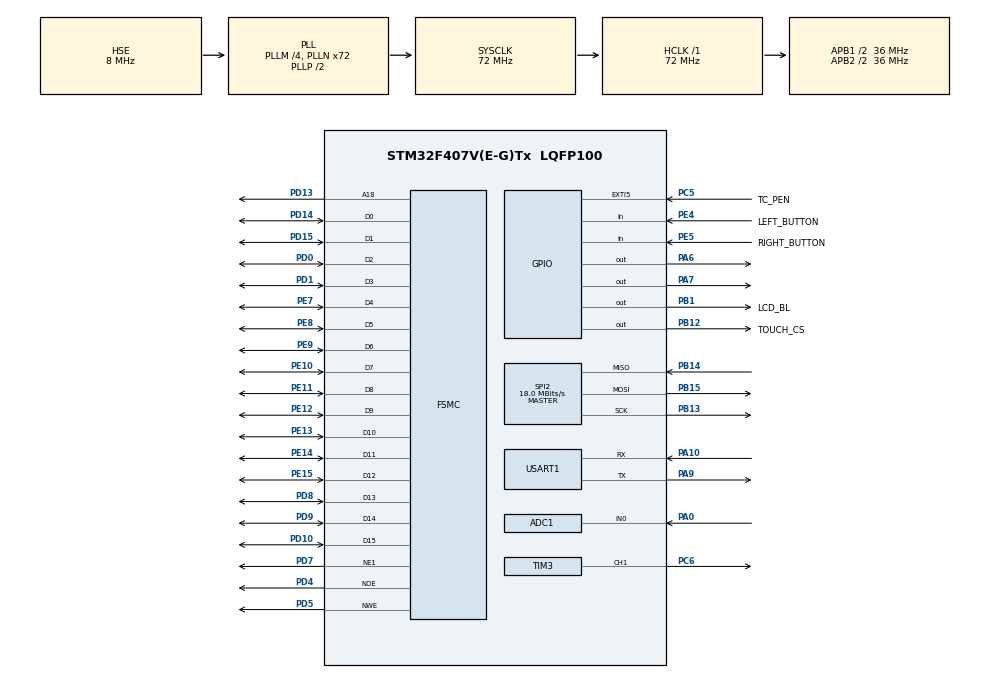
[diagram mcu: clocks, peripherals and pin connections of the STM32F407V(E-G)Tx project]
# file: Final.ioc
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ADC1.Channel-1\#ChannelRegularConversion=ADC_CHANNEL_0
ADC1.ContinuousConvMode=ENABLE
ADC1.DMAContinuousRequests=ENABLE
ADC1.DiscontinuousConvMode=DISABLE
ADC1.EOCSelection=ADC_EOC_SEQ_CONV
ADC1.ExternalTrigConv=ADC_EXTERNALTRIGCONV_T2_TRGO
ADC1.InjNumberOfConversion=0
ADC1.NbrOfConversion=1
ADC1.NbrOfConversionFlag=1
ADC1.Rank-1\#ChannelRegularConversion=1
ADC1.SamplingTime-1\#ChannelRegularConversion=ADC_SAMPLETIME_15CYCLES
ADC1.ScanConvMode=DISABLE
ADC1.master=1
Dma.ADC1.1.Direction=DMA_PERIPH_TO_MEMORY
Dma.ADC1.1.FIFOMode=DMA_FIFOMODE_DISABLE
Dma.ADC1.1.Instance=DMA2_Stream0
Dma.ADC1.1.MemDataAlignment=DMA_MDATAALIGN_HALFWORD
Dma.ADC1.1.MemInc=DMA_MINC_ENABLE
Dma.ADC1.1.Mode=DMA_CIRCULAR
Dma.ADC1.1.PeriphDataAlignment=DMA_PDATAALIGN_HALFWORD
Dma.ADC1.1.PeriphInc=DMA_PINC_DISABLE
Dma.ADC1.1.Priority=DMA_PRIORITY_LOW
Dma.Request0=TIM3_CH1/TRIG
Dma.Request1=ADC1
Dma.TIM3_CH1/TRIG.0.Direction=DMA_MEMORY_TO_PERIPH
Dma.TIM3_CH1/TRIG.0.FIFOMode=DMA_FIFOMODE_DISABLE
Dma.TIM3_CH1/TRIG.0.Instance=DMA1_Stream4
Dma.TIM3_CH1/TRIG.0.MemDataAlignment=DMA_MDATAALIGN_HALFWORD
Dma.TIM3_CH1/TRIG.0.MemInc=DMA_MINC_ENABLE
Dma.TIM3_CH1/TRIG.0.Mode=DMA_NORMAL
Dma.TIM3_CH1/TRIG.0.PeriphDataAlignment=DMA_PDATAALIGN_HALFWORD
Dma.TIM3_CH1/TRIG.0.PeriphInc=DMA_PINC_DISABLE
Dma.TIM3_CH1/TRIG.0.Priority=DMA_PRIORITY_LOW
Mcu.Family=STM32F4
Mcu.Name=STM32F407V(E-G)Tx
Mcu.Package=LQFP100
Mcu.UserConstants=LED_CNT,89
NVIC.DMA1_Stream4_IRQn=true\:0\:0\:false\:false\:true\:false\:true\:true
NVIC.DMA2_Stream0_IRQn=true\:0\:0\:false\:false\:true\:false\:true\:true
NVIC.PriorityGroup=NVIC_PRIORITYGROUP_4
NVIC.USART1_IRQn=true\:0\:0\:false\:false\:true\:true\:true\:true
PA0-WKUP.Signal=ADCx_IN0
PA10.Mode=Asynchronous
PA10.Signal=USART1_RX
PA6.Signal=GPIO_Output
PA7.Signal=GPIO_Output
PA9.Mode=Asynchronous
PA9.Signal=USART1_TX
PB1.GPIO_Label=LCD_BL
PB1.Signal=GPIO_Output
PB12.GPIO_Label=TOUCH_CS
PB12.Signal=GPIO_Output
PB13.Mode=Full_Duplex_Master
PB13.Signal=SPI2_SCK
PB14.Mode=Full_Duplex_Master
PB14.Signal=SPI2_MISO
PB15.Mode=Full_Duplex_Master
PB15.Signal=SPI2_MOSI
PC5.GPIO_Label=TC_PEN
PC5.Signal=GPXTI5
PC6.Signal=S_TIM3_CH1
PD0.GPIO_PuPd=GPIO_PULLUP
PD0.GPIO_Speed_High_Default=GPIO_SPEED_FREQ_HIGH
PD0.Mode=16b-d1
PD0.Signal=FSMC_D2
PD1.Mode=16b-d1
PD1.Signal=FSMC_D3
PD10.GPIO_Mode=GPIO_MODE_AF_PP
PD10.GPIO_PuPd=GPIO_PULLUP
PD10.GPIO_Speed_High_Default=GPIO_SPEED_FREQ_HIGH
PD10.Mode=16b-d1
PD10.Signal=FSMC_D15
PD13.GPIO_Mode=GPIO_MODE_AF_PP
PD13.GPIO_PuPd=GPIO_PULLUP
PD13.GPIO_Speed_High_Default=GPIO_SPEED_FREQ_HIGH
PD13.Mode=A18_1
PD13.Signal=FSMC_A18
PD14.GPIO_Mode=GPIO_MODE_AF_PP
PD14.GPIO_PuPd=GPIO_PULLUP
PD14.GPIO_Speed_High_Default=GPIO_SPEED_FREQ_HIGH
PD14.Mode=16b-d1
PD14.Signal=FSMC_D0
PD15.GPIO_Mode=GPIO_MODE_AF_PP
PD15.GPIO_PuPd=GPIO_PULLUP
PD15.GPIO_Speed_High_Default=GPIO_SPEED_FREQ_HIGH
PD15.Mode=16b-d1
PD15.Signal=FSMC_D1
PD4.Mode=Lcd1
PD4.Signal=FSMC_NOE
PD5.Mode=Lcd1
PD5.Signal=FSMC_NWE
PD7.Mode=NorPsramChipSelect1_1
PD7.Signal=FSMC_NE1
PD8.Mode=16b-d1
PD8.Signal=FSMC_D13
PD9.Mode=16b-d1
PD9.Signal=FSMC_D14
PE10.Mode=16b-d1
PE10.Signal=FSMC_D7
PE11.Mode=16b-d1
PE11.Signal=FSMC_D8
PE12.Mode=16b-d1
PE12.Signal=FSMC_D9
PE13.Mode=16b-d1
PE13.Signal=FSMC_D10
PE14.Mode=16b-d1
PE14.Signal=FSMC_D11
PE15.Mode=16b-d1
PE15.Signal=FSMC_D12
PE4.GPIO_Label=LEFT_BUTTON
PE4.Signal=GPIO_Input
PE5.GPIO_Label=RIGHT_BUTTON
PE5.Signal=GPIO_Input
PE7.GPIO_Mode=GPIO_MODE_AF_PP
PE7.GPIO_PuPd=GPIO_PULLUP
PE7.GPIO_Speed_High_Default=GPIO_SPEED_FREQ_HIGH
PE7.Mode=16b-d1
PE7.Signal=FSMC_D4
PE8.Mode=16b-d1
PE8.Signal=FSMC_D5
PE9.Mode=16b-d1
PE9.Signal=FSMC_D6
PH0-OSC_IN.Mode=HSE-External-Oscillator
PH0-OSC_IN.Signal=RCC_OSC_IN
PH1-OSC_OUT.Mode=HSE-External-Oscillator
PH1-OSC_OUT.Signal=RCC_OSC_OUT
ProjectManager.HeapSize=0x200
ProjectManager.StackSize=0x400
ProjectManager.TargetToolchain=STM32CubeIDE
RCC.48MHZClocksFreq_Value=36000000
RCC.AHBFreq_Value=72000000
RCC.APB1CLKDivider=RCC_HCLK_DIV2
RCC.APB1Freq_Value=36000000
RCC.APB1TimFreq_Value=72000000
RCC.APB2CLKDivider=RCC_HCLK_DIV2
RCC.APB2Freq_Value=36000000
RCC.APB2TimFreq_Value=72000000
RCC.CortexFreq_Value=72000000
RCC.HCLKFreq_Value=72000000
RCC.HSE_VALUE=8000000
RCC.HSI_VALUE=16000000
RCC.LSE_VALUE=32768
RCC.PLLM=4
RCC.PLLN=72
RCC.PLLSourceVirtual=RCC_PLLSOURCE_HSE
RCC.SYSCLKFreq_VALUE=72000000
RCC.SYSCLKSource=RCC_SYSCLKSOURCE_PLLCLK
RCC.VCOOutputFreq_Value=144000000
SH.ADCx_IN0.0=ADC1_IN0,IN0
SH.S_TIM3_CH1.0=TIM3_CH1,PWM Generation1 CH1
SPI2.CalculateBaudRate=18.0 MBits/s
SPI2.Direction=SPI_DIRECTION_2LINES
SPI2.Mode=SPI_MODE_MASTER
SPI2.VirtualType=VM_MASTER
TIM2.AutoReloadPreload=TIM_AUTORELOAD_PRELOAD_ENABLE
TIM2.Period=99
TIM2.Prescaler=71
TIM2.TIM_MasterOutputTrigger=TIM_TRGO_UPDATE
TIM2.TIM_MasterSlaveMode=TIM_MASTERSLAVEMODE_ENABLE
TIM3.Channel-PWM\ Generation1\ CH1=TIM_CHANNEL_1
TIM3.Period=LED_CNT
USART1.VirtualMode=VM_ASYNC
VP_TIM2_VS_ClockSourceINT.Mode=Internal
VP_TIM3_VS_ClockSourceINT.Mode=Internal
board=custom

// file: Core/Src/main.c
/* USER CODE BEGIN Header */
/**
  ******************************************************************************
  * @file           : main.c
  * @brief          : Main program body
  ******************************************************************************
  * @attention
  *
  * Copyright (c) 2025 STMicroelectronics.
  * All rights reserved.
  *
  * This software is licensed under terms that can be found in the LICENSE file
  * in the root directory of this software component.
  * If no LICENSE file comes with this software, it is provided AS-IS.
  *
  ******************************************************************************
  */
/* USER CODE END Header */
#include "main.h"
#include "WS2812.h"
#include "FFT.h"
#include "background.h"
#include "Setup_LCD_Status.h"
#include "stm32f4xx_hal.h"
#include "lcd_effect.h"
#include "ili9341.h"
#include <string.h>
#include <stdio.h>
#include "LCD_Touch.h"

ADC_HandleTypeDef hadc1;
DMA_HandleTypeDef hdma_adc1;

SPI_HandleTypeDef hspi2;

TIM_HandleTypeDef htim2;
TIM_HandleTypeDef htim3;
DMA_HandleTypeDef hdma_tim3_ch1_trig;

UART_HandleTypeDef huart1;

SRAM_HandleTypeDef hsram1;

#define min(a,b) (((a)<(b))?(a):(b))

#define DMA_BUFFER_SIZE 1024
uint16_t adc_buffer[1024] = {0};
uint32_t adc_average_value = 0;
int datasentflag = 0;

void SystemClock_Config(void);
static void MX_GPIO_Init(void);
static void MX_DMA_Init(void);
static void MX_TIM3_Init(void);
static void MX_USART1_UART_Init(void);
static void MX_ADC1_Init(void);
static void MX_TIM2_Init(void);
static void MX_FSMC_Init(void);
static void MX_SPI2_Init(void);

/* USER CODE BEGIN 0 */

void Print_ADC(void)
{
	char buffer[50];

//	snprintf(buffer, sizeof(buffer), "ADC Average: %ld\r\n", adc_average_value);
//	HAL_UART_Transmit(&huart1, (uint8_t*)buffer, strlen(buffer), HAL_MAX_DELAY);
//	HAL_Delay(500);

	for (int i = 0; i < 10; i++) // In 10 giá trị đầu tiên
	{
		snprintf(buffer, sizeof(buffer), "Value %d: %d\r\n", i, adc_buffer[i]);
		HAL_UART_Transmit(&huart1, (uint8_t*)buffer, strlen(buffer), HAL_MAX_DELAY);
		HAL_Delay(100);
	}
}

void HAL_TIM_PWM_PulseFinishedCallback(TIM_HandleTypeDef *htim)
{
	HAL_TIM_PWM_Stop_DMA(&htim3, TIM_CHANNEL_1);
	datasentflag = 1;
}

void HAL_ADC_ConvHalfCpltCallback(ADC_HandleTypeDef *hadc)
{
	uint64_t sum = 0;
	for (int i = 0 ; i < DMA_BUFFER_SIZE / 2 ; i++)
	{
		sum += adc_buffer[i];
	}
	adc_average_value = sum / (DMA_BUFFER_SIZE / 2);
}

/* USER CODE END 0 */

int main(void)
{

  /* MCU Configuration--------------------------------------------------------*/

  /* Reset of all peripherals, Initializes the Flash interface and the Systick. */
  HAL_Init();

  /* Configure the system clock */
  SystemClock_Config();

  /* Initialize all configured peripherals */
  MX_GPIO_Init();
  MX_DMA_Init();
  MX_TIM3_Init();
  MX_USART1_UART_Init();
  MX_ADC1_Init();
  MX_TIM2_Init();
  MX_FSMC_Init();
  MX_SPI2_Init();
  /* USER CODE BEGIN 2 */
  HAL_TIM_Base_Start(&htim2);
  HAL_ADC_Start_DMA(&hadc1, (uint32_t *)adc_buffer, DMA_BUFFER_SIZE);

  /* USER CODE END 2 */
  LCD_BL_ON();
  HAL_GPIO_WritePin(GPIOA, GPIO_PIN_6, GPIO_PIN_SET);
  HAL_GPIO_WritePin(GPIOA, GPIO_PIN_7, GPIO_PIN_RESET);
  /* Infinite loop */
  lcdInit();
  lcdSetOrientation(LCD_ORIENTATION_LANDSCAPE);
  /* USER CODE BEGIN WHILE */
  TouchCalibrate();
  uint32_t start = 0;
  startlcd();
//  char touchStr[32];
//  int16_t x, y;

  Reset_All_LED();

  while (1)
  {
    /* USER CODE END WHILE */
	  FFT_SETUP();
	  if (HAL_GetTick() - start >= 1000) {
	  	      HAL_GPIO_TogglePin(GPIOA, GPIO_PIN_6);
	  	      HAL_GPIO_TogglePin(GPIOA, GPIO_PIN_7);
	  	      start = HAL_GetTick();
	  }
	  readtouch();
	  //
//	  if (TouchGetCalibratedPoint(&x, &y)) // nếu đang chạm và lấy được tọa độ
//	  {
//	  //		  int16_t x=ty;
//	  //		  int16_t y= 239-tx;
//	  			// Hiển thị lên LCD
//		  sprintf(touchStr, "X:%03d Y:%03d", x, y);
//
//	  			// Xóa vùng cũ (nếu muốn làm sạch vùng hiển thị)
//	  	lcdFillRect(0, 0, 160, 16, COLOR_BLACK);
//
//	  			// Hiển thị tọa độ
//	  			lcdSetCursor(10, 0);
//	  			lcdPrintf("%s", touchStr);
//
//	  			HAL_Delay(100);  // tránh flicker
//	  /* USER CODE BEGIN 3 */
//	  }

	  runlcd();
	    /* USER CODE END 3 */
  }
 }

void SystemClock_Config(void)
{
  RCC_OscInitTypeDef RCC_OscInitStruct = {0};
  RCC_ClkInitTypeDef RCC_ClkInitStruct = {0};

  /** Configure the main internal regulator output voltage
  */
  __HAL_RCC_PWR_CLK_ENABLE();
  __HAL_PWR_VOLTAGESCALING_CONFIG(PWR_REGULATOR_VOLTAGE_SCALE1);

  /** Initializes the RCC Oscillators according to the specified parameters
  * in the RCC_OscInitTypeDef structure.
  */
  RCC_OscInitStruct.OscillatorType = RCC_OSCILLATORTYPE_HSE;
  RCC_OscInitStruct.HSEState = RCC_HSE_ON;
  RCC_OscInitStruct.PLL.PLLState = RCC_PLL_ON;
  RCC_OscInitStruct.PLL.PLLSource = RCC_PLLSOURCE_HSE;
  RCC_OscInitStruct.PLL.PLLM = 4;
  RCC_OscInitStruct.PLL.PLLN = 72;
  RCC_OscInitStruct.PLL.PLLP = RCC_PLLP_DIV2;
  RCC_OscInitStruct.PLL.PLLQ = 4;
  if (HAL_RCC_OscConfig(&RCC_OscInitStruct) != HAL_OK)
  {
    Error_Handler();
  }

  /** Initializes the CPU, AHB and APB buses clocks
  */
  RCC_ClkInitStruct.ClockType = RCC_CLOCKTYPE_HCLK|RCC_CLOCKTYPE_SYSCLK
                              |RCC_CLOCKTYPE_PCLK1|RCC_CLOCKTYPE_PCLK2;
  RCC_ClkInitStruct.SYSCLKSource = RCC_SYSCLKSOURCE_PLLCLK;
  RCC_ClkInitStruct.AHBCLKDivider = RCC_SYSCLK_DIV1;
  RCC_ClkInitStruct.APB1CLKDivider = RCC_HCLK_DIV2;
  RCC_ClkInitStruct.APB2CLKDivider = RCC_HCLK_DIV2;

  if (HAL_RCC_ClockConfig(&RCC_ClkInitStruct, FLASH_LATENCY_2) != HAL_OK)
  {
    Error_Handler();
  }
}

static void MX_ADC1_Init(void)
{

  ADC_ChannelConfTypeDef sConfig = {0};

  /** Configure the global features of the ADC (Clock, Resolution, Data Alignment and number of conversion)
  */
  hadc1.Instance = ADC1;
  hadc1.Init.ClockPrescaler = ADC_CLOCK_SYNC_PCLK_DIV2;
  hadc1.Init.Resolution = ADC_RESOLUTION_12B;
  hadc1.Init.ScanConvMode = DISABLE;
  hadc1.Init.ContinuousConvMode = ENABLE;
  hadc1.Init.DiscontinuousConvMode = DISABLE;
  hadc1.Init.ExternalTrigConvEdge = ADC_EXTERNALTRIGCONVEDGE_RISING;
  hadc1.Init.ExternalTrigConv = ADC_EXTERNALTRIGCONV_T2_TRGO;
  hadc1.Init.DataAlign = ADC_DATAALIGN_RIGHT;
  hadc1.Init.NbrOfConversion = 1;
  hadc1.Init.DMAContinuousRequests = ENABLE;
  hadc1.Init.EOCSelection = ADC_EOC_SEQ_CONV;
  if (HAL_ADC_Init(&hadc1) != HAL_OK)
  {
    Error_Handler();
  }

  /** Configure for the selected ADC regular channel its corresponding rank in the sequencer and its sample time.
  */
  sConfig.Channel = ADC_CHANNEL_0;
  sConfig.Rank = 1;
  sConfig.SamplingTime = ADC_SAMPLETIME_15CYCLES;
  if (HAL_ADC_ConfigChannel(&hadc1, &sConfig) != HAL_OK)
  {
    Error_Handler();
  }

}

static void MX_SPI2_Init(void)
{

  /* SPI2 parameter configuration*/
  hspi2.Instance = SPI2;
  hspi2.Init.Mode = SPI_MODE_MASTER;
  hspi2.Init.Direction = SPI_DIRECTION_2LINES;
  hspi2.Init.DataSize = SPI_DATASIZE_8BIT;
  hspi2.Init.CLKPolarity = SPI_POLARITY_LOW;
  hspi2.Init.CLKPhase = SPI_PHASE_1EDGE;
  hspi2.Init.NSS = SPI_NSS_SOFT;
  hspi2.Init.BaudRatePrescaler = SPI_BAUDRATEPRESCALER_2;
  hspi2.Init.FirstBit = SPI_FIRSTBIT_MSB;
  hspi2.Init.TIMode = SPI_TIMODE_DISABLE;
  hspi2.Init.CRCCalculation = SPI_CRCCALCULATION_DISABLE;
  hspi2.Init.CRCPolynomial = 10;
  if (HAL_SPI_Init(&hspi2) != HAL_OK)
  {
    Error_Handler();
  }

}

static void MX_TIM2_Init(void)
{

  TIM_ClockConfigTypeDef sClockSourceConfig = {0};
  TIM_MasterConfigTypeDef sMasterConfig = {0};

  htim2.Instance = TIM2;
  htim2.Init.Prescaler = 71;
  htim2.Init.CounterMode = TIM_COUNTERMODE_UP;
  htim2.Init.Period = 99;
  htim2.Init.ClockDivision = TIM_CLOCKDIVISION_DIV1;
  htim2.Init.AutoReloadPreload = TIM_AUTORELOAD_PRELOAD_ENABLE;
  if (HAL_TIM_Base_Init(&htim2) != HAL_OK)
  {
    Error_Handler();
  }
  sClockSourceConfig.ClockSource = TIM_CLOCKSOURCE_INTERNAL;
  if (HAL_TIM_ConfigClockSource(&htim2, &sClockSourceConfig) != HAL_OK)
  {
    Error_Handler();
  }
  sMasterConfig.MasterOutputTrigger = TIM_TRGO_UPDATE;
  sMasterConfig.MasterSlaveMode = TIM_MASTERSLAVEMODE_ENABLE;
  if (HAL_TIMEx_MasterConfigSynchronization(&htim2, &sMasterConfig) != HAL_OK)
  {
    Error_Handler();
  }

}

static void MX_TIM3_Init(void)
{

  TIM_ClockConfigTypeDef sClockSourceConfig = {0};
  TIM_MasterConfigTypeDef sMasterConfig = {0};
  TIM_OC_InitTypeDef sConfigOC = {0};

  htim3.Instance = TIM3;
  htim3.Init.Prescaler = 0;
  htim3.Init.CounterMode = TIM_COUNTERMODE_UP;
  htim3.Init.Period = LED_CNT;
  htim3.Init.ClockDivision = TIM_CLOCKDIVISION_DIV1;
  htim3.Init.AutoReloadPreload = TIM_AUTORELOAD_PRELOAD_DISABLE;
  if (HAL_TIM_Base_Init(&htim3) != HAL_OK)
  {
    Error_Handler();
  }
  sClockSourceConfig.ClockSource = TIM_CLOCKSOURCE_INTERNAL;
  if (HAL_TIM_ConfigClockSource(&htim3, &sClockSourceConfig) != HAL_OK)
  {
    Error_Handler();
  }
  if (HAL_TIM_PWM_Init(&htim3) != HAL_OK)
  {
    Error_Handler();
  }
  sMasterConfig.MasterOutputTrigger = TIM_TRGO_RESET;
  sMasterConfig.MasterSlaveMode = TIM_MASTERSLAVEMODE_DISABLE;
  if (HAL_TIMEx_MasterConfigSynchronization(&htim3, &sMasterConfig) != HAL_OK)
  {
    Error_Handler();
  }
  sConfigOC.OCMode = TIM_OCMODE_PWM1;
  sConfigOC.Pulse = 0;
  sConfigOC.OCPolarity = TIM_OCPOLARITY_HIGH;
  sConfigOC.OCFastMode = TIM_OCFAST_DISABLE;
  if (HAL_TIM_PWM_ConfigChannel(&htim3, &sConfigOC, TIM_CHANNEL_1) != HAL_OK)
  {
    Error_Handler();
  }
  HAL_TIM_MspPostInit(&htim3);

}

static void MX_USART1_UART_Init(void)
{

  huart1.Instance = USART1;
  huart1.Init.BaudRate = 115200;
  huart1.Init.WordLength = UART_WORDLENGTH_8B;
  huart1.Init.StopBits = UART_STOPBITS_1;
  huart1.Init.Parity = UART_PARITY_NONE;
  huart1.Init.Mode = UART_MODE_TX_RX;
  huart1.Init.HwFlowCtl = UART_HWCONTROL_NONE;
  huart1.Init.OverSampling = UART_OVERSAMPLING_16;
  if (HAL_UART_Init(&huart1) != HAL_OK)
  {
    Error_Handler();
  }

}

static void MX_DMA_Init(void)
{

  /* DMA controller clock enable */
  __HAL_RCC_DMA1_CLK_ENABLE();
  __HAL_RCC_DMA2_CLK_ENABLE();

  /* DMA interrupt init */
  /* DMA1_Stream4_IRQn interrupt configuration */
  HAL_NVIC_SetPriority(DMA1_Stream4_IRQn, 0, 0);
  HAL_NVIC_EnableIRQ(DMA1_Stream4_IRQn);
  /* DMA2_Stream0_IRQn interrupt configuration */
  HAL_NVIC_SetPriority(DMA2_Stream0_IRQn, 0, 0);
  HAL_NVIC_EnableIRQ(DMA2_Stream0_IRQn);

}

static void MX_GPIO_Init(void)
{
  GPIO_InitTypeDef GPIO_InitStruct = {0};

  /* GPIO Ports Clock Enable */
  __HAL_RCC_GPIOE_CLK_ENABLE();
  __HAL_RCC_GPIOH_CLK_ENABLE();
  __HAL_RCC_GPIOA_CLK_ENABLE();
  __HAL_RCC_GPIOC_CLK_ENABLE();
  __HAL_RCC_GPIOB_CLK_ENABLE();
  __HAL_RCC_GPIOD_CLK_ENABLE();

  /*Configure GPIO pin Output Level */
  HAL_GPIO_WritePin(GPIOA, GPIO_PIN_6|GPIO_PIN_7, GPIO_PIN_RESET);

  /*Configure GPIO pin Output Level */
  HAL_GPIO_WritePin(GPIOB, LCD_BL_Pin|TOUCH_CS_Pin, GPIO_PIN_RESET);

  /*Configure GPIO pins : LEFT_BUTTON_Pin RIGHT_BUTTON_Pin */
  GPIO_InitStruct.Pin = LEFT_BUTTON_Pin|RIGHT_BUTTON_Pin;
  GPIO_InitStruct.Mode = GPIO_MODE_INPUT;
  GPIO_InitStruct.Pull = GPIO_NOPULL;
  HAL_GPIO_Init(GPIOE, &GPIO_InitStruct);

  /*Configure GPIO pins : PA6 PA7 */
  GPIO_InitStruct.Pin = GPIO_PIN_6|GPIO_PIN_7;
  GPIO_InitStruct.Mode = GPIO_MODE_OUTPUT_PP;
  GPIO_InitStruct.Pull = GPIO_NOPULL;
  GPIO_InitStruct.Speed = GPIO_SPEED_FREQ_LOW;
  HAL_GPIO_Init(GPIOA, &GPIO_InitStruct);

  /*Configure GPIO pin : TC_PEN_Pin */
  GPIO_InitStruct.Pin = TC_PEN_Pin;
  GPIO_InitStruct.Mode = GPIO_MODE_IT_RISING;
  GPIO_InitStruct.Pull = GPIO_NOPULL;
  HAL_GPIO_Init(TC_PEN_GPIO_Port, &GPIO_InitStruct);

  /*Configure GPIO pins : LCD_BL_Pin TOUCH_CS_Pin */
  GPIO_InitStruct.Pin = LCD_BL_Pin|TOUCH_CS_Pin;
  GPIO_InitStruct.Mode = GPIO_MODE_OUTPUT_PP;
  GPIO_InitStruct.Pull = GPIO_NOPULL;
  GPIO_InitStruct.Speed = GPIO_SPEED_FREQ_LOW;
  HAL_GPIO_Init(GPIOB, &GPIO_InitStruct);

}

/* FSMC initialization function */
static void MX_FSMC_Init(void)
{

  FSMC_NORSRAM_TimingTypeDef Timing = {0};

  /** Perform the SRAM1 memory initialization sequence
  */
  hsram1.Instance = FSMC_NORSRAM_DEVICE;
  hsram1.Extended = FSMC_NORSRAM_EXTENDED_DEVICE;
  /* hsram1.Init */
  hsram1.Init.NSBank = FSMC_NORSRAM_BANK1;
  hsram1.Init.DataAddressMux = FSMC_DATA_ADDRESS_MUX_DISABLE;
  hsram1.Init.MemoryType = FSMC_MEMORY_TYPE_SRAM;
  hsram1.Init.MemoryDataWidth = FSMC_NORSRAM_MEM_BUS_WIDTH_16;
  hsram1.Init.BurstAccessMode = FSMC_BURST_ACCESS_MODE_DISABLE;
  hsram1.Init.WaitSignalPolarity = FSMC_WAIT_SIGNAL_POLARITY_LOW;
  hsram1.Init.WrapMode = FSMC_WRAP_MODE_DISABLE;
  hsram1.Init.WaitSignalActive = FSMC_WAIT_TIMING_BEFORE_WS;
  hsram1.Init.WriteOperation = FSMC_WRITE_OPERATION_ENABLE;
  hsram1.Init.WaitSignal = FSMC_WAIT_SIGNAL_DISABLE;
  hsram1.Init.ExtendedMode = FSMC_EXTENDED_MODE_DISABLE;
  hsram1.Init.AsynchronousWait = FSMC_ASYNCHRONOUS_WAIT_DISABLE;
  hsram1.Init.WriteBurst = FSMC_WRITE_BURST_DISABLE;
  hsram1.Init.PageSize = FSMC_PAGE_SIZE_NONE;
  /* Timing */
  Timing.AddressSetupTime = 15;
  Timing.AddressHoldTime = 15;
  Timing.DataSetupTime = 255;
  Timing.BusTurnAroundDuration = 15;
  Timing.CLKDivision = 16;
  Timing.DataLatency = 17;
  Timing.AccessMode = FSMC_ACCESS_MODE_A;
  /* ExtTiming */

  if (HAL_SRAM_Init(&hsram1, &Timing, NULL) != HAL_OK)
  {
    Error_Handler( );
  }

}

void Error_Handler(void)
{
  __disable_irq();
  while (1)
  {
  }
}
